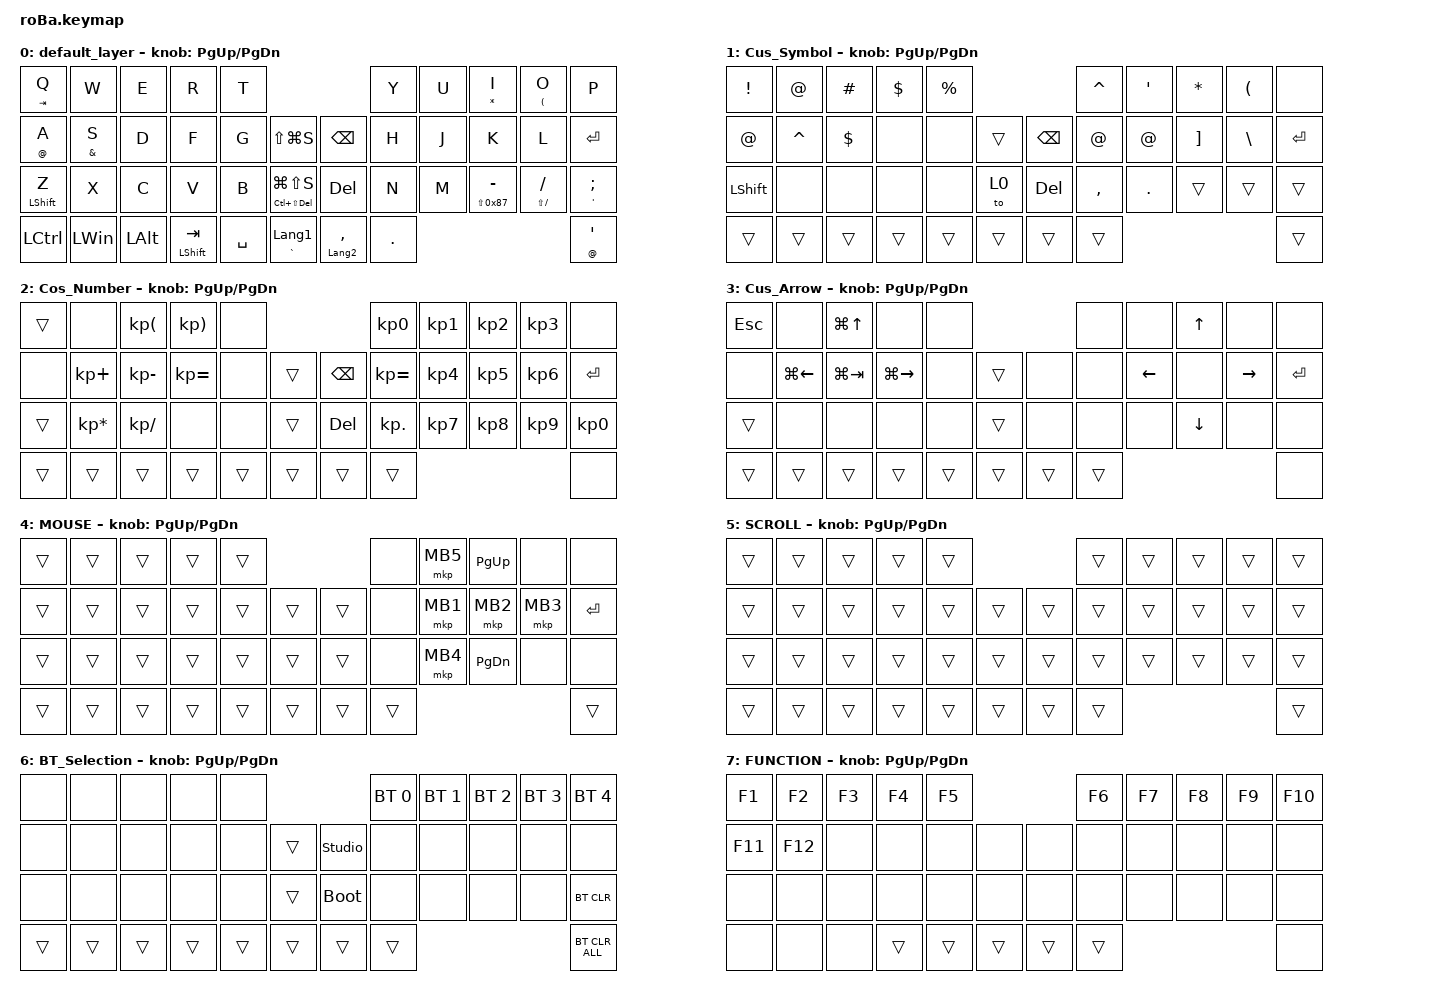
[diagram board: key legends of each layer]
#include <behaviors.dtsi>
#include <dt-bindings/zmk/bt.h>
#include <dt-bindings/zmk/keys.h>
#include <dt-bindings/zmk/pointing.h>

#define MOUSE 4
#define SCROLL 5
#define NUM 6
#define JP_DQUOTE       AT
#define JP_AMPERSAND    CARET
#define JP_QUOTE        AMPERSAND
#define JP_EQUAL        UNDER
#define JP_CARET        EQUAL
#define JP_YEN          0x89
#define JP_PLUS         COLON
#define JP_TILDE        PLUS
#define JP_PIPE         LS(0x89)
#define JP_AT           LEFT_BRACKET
#define JP_COLON        SINGLE_QUOTE
#define JP_ASTERISK     DOUBLE_QUOTES
#define JP_BACKQUOTE    LEFT_BRACE
#define JP_UNDERSCORE   LS(0x87)
#define JP_LBRACKET     RIGHT_BRACKET
#define JP_RBRACKET     BACKSLASH
#define JP_LPAREN       ASTERISK
#define JP_RPAREN       LEFT_PARENTHESIS
#define JP_LBRACE       RIGHT_BRACE
#define JP_RBRACE       PIPE
#define JP_KANA         LANGUAGE_1
#define JP_EISU         LANGUAGE_2
#define JP_HANZEN       GRAVE

&mt {
    flavor = "balanced";
    quick-tap-ms = <0>;
    tapping-term-ms = <300>;
};

/ {
    combos {
        compatible = "zmk,combos";

        tab {
            bindings = <&kp TAB>;
            key-positions = <11 10>;
        };

        Zoom_In {
            bindings = <&kp LC(KP_PLUS)>;
            key-positions = <7 12>;
        };

        Zoom_Out {
            bindings = <&kp LC(KP_MINUS)>;
            key-positions = <31 12>;
        };

        Win_up {
            bindings = <&kp LG(UP_ARROW)>;
            key-positions = <7 12>;
        };

        Win_Down {
            bindings = <&kp LG(DOWN_ARROW)>;
            key-positions = <31 12>;
        };

        Win_Left {
            bindings = <&kp LG(LEFT_ARROW)>;
            key-positions = <18 12>;
        };

        Win_Right {
            bindings = <&kp LG(RIGHT_ARROW)>;
            key-positions = <20 12>;
        };

        Ctr_5 {
            bindings = <&kp LC(KP_NUMBER_5)>;
            key-positions = <4 12>;
        };

        Layer_0 {
            bindings = <&to 0>;
            key-positions = <37 12>;
        };

        Layer_1 {
            bindings = <&to 1>;
            key-positions = <38 12>;
        };

        Layer_2 {
            bindings = <&to 2>;
            key-positions = <39 12>;
        };

        Layer_3 {
            bindings = <&to 3>;
            key-positions = <40 12>;
        };

        Layer_4 {
            bindings = <&to 4>;
            key-positions = <41 12>;
        };

        Layer_6 {
            bindings = <&to 6>;
            key-positions = <42 12>;
        };

        Escape {
            bindings = <&kp ESCAPE>;
            key-positions = <0 1>;
        };
    };

    macros {
        to_layer_0: to_layer_0 {
            compatible = "zmk,behavior-macro-one-param";
            #binding-cells = <1>;
            bindings = <&to 0 &macro_param_1to1 &kp MACRO_PLACEHOLDER>;
            label = "TO_LAYER_0";
        };
    };

    behaviors {
        lt_to_layer_0: lt_to_layer_0 {
            compatible = "zmk,behavior-hold-tap";
            label = "LAYER_TAP_TO_0";
            bindings = <&mo>, <&to_layer_0>;

            #binding-cells = <2>;
            tapping-term-ms = <200>;
        };
    };

    keymap {
        compatible = "zmk,keymap";

        default_layer {
            bindings = <
&mt TAB Q         &kp W            &kp E         &kp R               &kp T                                                              &kp Y       &kp U  &mt JP_LPAREN I          &mt JP_RPAREN O      &kp P
&mt AT A          &mt AMPERSAND S  &kp D         &kp F               &kp G      &kp LS(LG(S))                     &kp BACKSPACE         &kp H       &kp J  &kp K                    &kp L                &kp ENTER
&mt LEFT_SHIFT Z  &kp X            &kp C         &kp V               &kp B      &mt LC(LS(DELETE)) LG(LS(S))      &kp DELETE            &kp N       &kp M  &mt JP_UNDERSCORE MINUS  &mt LS(SLASH) SLASH  &mt JP_COLON SEMI
&kp LCTRL         &kp LEFT_WIN     &kp LEFT_ALT  &mt LEFT_SHIFT TAB  &kp SPACE  &mt JP_HANZEN LANGUAGE_1          &mt LANGUAGE_2 COMMA  &kp PERIOD                                                       &mt JP_DQUOTE SINGLE_QUOTE
            >;

            sensor-bindings = <&inc_dec_kp PG_UP PAGE_DOWN>;
        };

        Cus_Symbol {
            bindings = <
&kp EXCLAMATION  &kp JP_DQUOTE     &kp HASH    &kp DOLLAR  &kp PERCENT                             &kp JP_AMPERSAND  &kp SINGLE_QUOTE  &kp JP_LPAREN     &kp JP_RPAREN      &none
&kp AT           &kp JP_AMPERSAND  &kp DOLLAR  &none       &none        &trans      &kp BACKSPACE  &kp JP_DQUOTE     &kp JP_DQUOTE     &kp JP_LBRACKET  &kp JP_RBRACKET  &kp ENTER
&kp LEFT_SHIFT   &none             &none       &none       &none        &to 0       &kp DEL        &kp COMMA         &kp PERIOD        &trans            &trans             &trans
&trans           &trans            &trans      &trans      &trans       &trans      &trans         &trans                                                                   &trans
            >;

            sensor-bindings = <&inc_dec_kp PAGE_UP PAGE_DOWN>;
        };

        Cos_Number {
            bindings = <
&trans  &none            &kp KP_LEFT_PARENTHESIS  &kp KP_RIGHT_PARENTHESIS  &none                              &kp KP_NUMBER_0  &kp KP_NUMBER_1  &kp KP_NUMBER_2  &kp KP_NUMBER_3  &none
&none   &kp KP_PLUS      &kp KP_MINUS             &kp KP_EQUAL              &none   &trans      &kp BACKSPACE  &kp KP_EQUAL     &kp KP_NUMBER_4  &kp KP_NUMBER_5  &kp KP_NUMBER_6  &kp ENTER
&trans  &kp KP_MULTIPLY  &kp KP_DIVIDE            &none                     &none   &trans      &kp DEL        &kp KP_DOT       &kp KP_NUMBER_7  &kp KP_NUMBER_8  &kp KP_NUMBER_9  &kp KP_NUMBER_0
&trans  &trans           &trans                   &trans                    &trans  &trans      &trans         &trans                                                              &none
            >;

            sensor-bindings = <&inc_dec_kp PG_UP PAGE_DOWN>;
        };

        Cus_Arrow {
            bindings = <
&kp ESCAPE  &none               &kp LG(UP_ARROW)  &none                &none                       &none   &none           &kp UP_ARROW  &none      &none
&none       &kp LG(LEFT_ARROW)  &kp LG(TAB)       &kp LG(RIGHT_ARROW)  &none   &trans      &none   &none   &kp LEFT_ARROW  &none         &kp RIGHT  &kp ENTER
&trans      &none               &none             &none                &none   &trans      &none   &none   &none           &kp DOWN      &none      &none
&trans      &trans              &trans            &trans               &trans  &trans      &trans  &trans                                           &none
            >;

            sensor-bindings = <&inc_dec_kp PG_UP PAGE_DOWN>;
        };

        MOUSE {
            bindings = <
&trans  &trans  &trans  &trans  &trans                      &none   &mkp MB5  &kp PAGE_UP    &none     &none
&trans  &trans  &trans  &trans  &trans  &trans      &trans  &none   &mkp MB1  &mkp MB2       &mkp MB3  &kp ENTER
&trans  &trans  &trans  &trans  &trans  &trans      &trans  &none   &mkp MB4  &kp PAGE_DOWN  &none     &none
&trans  &trans  &trans  &trans  &trans  &trans      &trans  &trans                                     &trans
            >;

            sensor-bindings = <&inc_dec_kp PG_UP PAGE_DOWN>;
        };

        SCROLL {
            bindings = <
&trans  &trans  &trans  &trans  &trans                      &trans  &trans  &trans  &trans  &trans
&trans  &trans  &trans  &trans  &trans  &trans      &trans  &trans  &trans  &trans  &trans  &trans
&trans  &trans  &trans  &trans  &trans  &trans      &trans  &trans  &trans  &trans  &trans  &trans
&trans  &trans  &trans  &trans  &trans  &trans      &trans  &trans                          &trans
            >;

            sensor-bindings = <&inc_dec_kp PG_UP PAGE_DOWN>;
        };

        BT_Selection {
            bindings = <
&none   &none   &none   &none   &none                               &bt BT_SEL 0  &bt BT_SEL 1  &bt BT_SEL 2  &bt BT_SEL 3  &bt BT_SEL 4
&none   &none   &none   &none   &none   &trans      &studio_unlock  &none         &none         &none         &none         &none
&none   &none   &none   &none   &none   &trans      &bootloader     &none         &none         &none         &none         &bt BT_CLR
&trans  &trans  &trans  &trans  &trans  &trans      &trans          &trans                                                  &bt BT_CLR_ALL
            >;

            sensor-bindings = <&inc_dec_kp PG_UP PAGE_DOWN>;
        };

        FUNCTION {
            bindings = <
&kp F1   &kp F2   &kp F3  &kp F4  &kp F5                      &kp F6  &kp F7  &kp F8  &kp F9  &kp F10
&kp F11  &kp F12  &none   &none   &none   &none       &none   &none   &none   &none   &none   &none
&none    &none    &none   &none   &none   &none       &none   &none   &none   &none   &none   &none
&none    &none    &none   &trans  &trans  &trans      &trans  &trans                          &none
            >;

            sensor-bindings = <&inc_dec_kp PG_UP PAGE_DOWN>;
        };
    };
};
